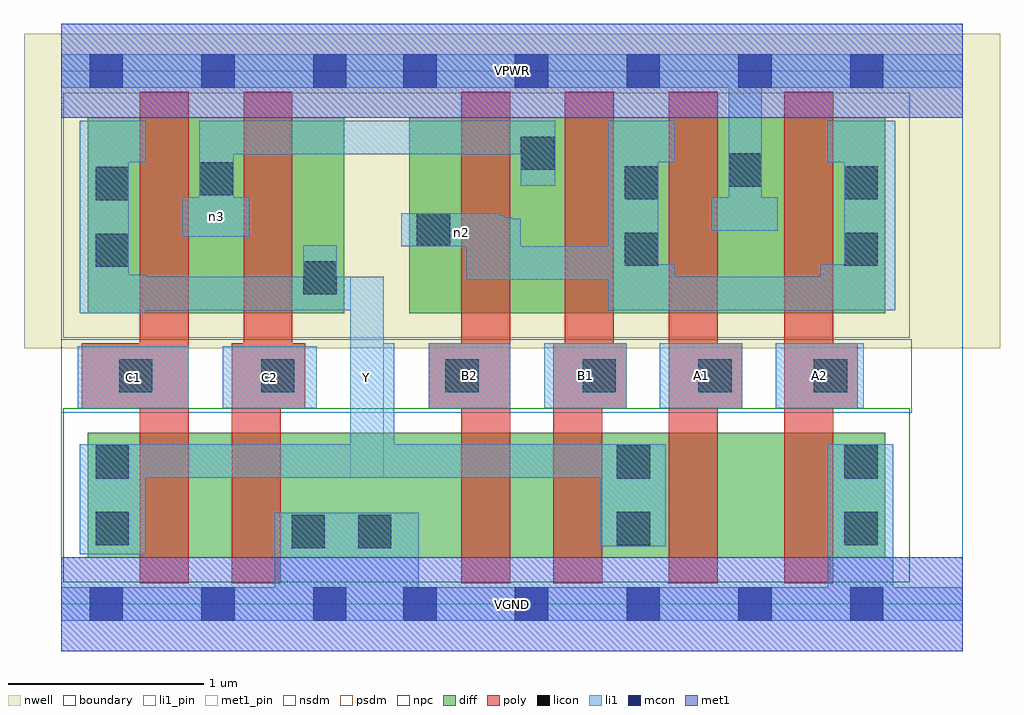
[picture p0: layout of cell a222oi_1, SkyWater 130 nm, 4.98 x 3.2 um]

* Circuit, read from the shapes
.subckt a222oi_1 A1 A2 B1 B2 C1 C2 VGND VPWR Y n2 n3
XM1 n1 C1 Y VSUBS sky130_fd_pr__nfet_01v8 w=0.64 l=0.25
XM2 VGND C2 n1 VSUBS sky130_fd_pr__nfet_01v8 w=0.64 l=0.25
XM3 n4 B2 VGND VSUBS sky130_fd_pr__nfet_01v8 w=0.64 l=0.25
XM4 Y B1 n4 VSUBS sky130_fd_pr__nfet_01v8 w=0.64 l=0.25
XM5 n5 A1 Y VSUBS sky130_fd_pr__nfet_01v8 w=0.64 l=0.25
XM6 VGND A2 n5 VSUBS sky130_fd_pr__nfet_01v8 w=0.64 l=0.25
XM7 n3 C1 Y n6 sky130_fd_pr__pfet_01v8 w=1 l=0.25
XM8 Y C2 n3 n6 sky130_fd_pr__pfet_01v8 w=1 l=0.25
XM9 n3 B2 n2 n6 sky130_fd_pr__pfet_01v8 w=1 l=0.25
XM10 n2 B1 n3 n6 sky130_fd_pr__pfet_01v8 w=1 l=0.25
XM11 VPWR A1 n2 n6 sky130_fd_pr__pfet_01v8 w=1 l=0.25
XM12 n2 A2 VPWR n6 sky130_fd_pr__pfet_01v8 w=1 l=0.25
.ends

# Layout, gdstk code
import gdstk
lib = gdstk.Library(unit=1e-6, precision=1e-09)
def R(c, l, rs):  # rectangles x0, y0, x1, y1
    for r in rs: c.add(gdstk.rectangle(r[:2], r[2:], *l))
def A(c, l, x, y, w, h, nx, ny, dx, dy):  # array of equal rectangles
    R(c, l, [(x+i*dx, y+j*dy, x+i*dx+w, y+j*dy+h) for i in range(nx) for j in range(ny)])
nwell = (64, 20)
diff = (65, 20)
poly = (66, 20)
licon = (66, 44)
li1_pin = (67, 16)
li1 = (67, 20)
mcon = (67, 44)
met1_pin = (68, 16)
met1 = (68, 20)
nsdm = (93, 44)
psdm = (94, 20)
npc = (95, 20)
boundary = (235, 4)

a222oi_1 = lib.new_cell('a222oi_1')
R(a222oi_1, nwell, [(-0.19,1.305,4.79,2.91), (0,1.305,4.6,2.91)])
R(a222oi_1, diff, [(0.135,0.235,4.205,0.875), (0.135,1.485,1.445,2.485), (1.775,1.485,4.205,2.485)])
A(a222oi_1, poly, 2.51, 1, 0.375, 0.33, 3, 1, 0.59, 0)
R(a222oi_1, poly, [(0.4,0.105,0.65,2.615), (0.87,0.105,1.12,1.33), (2.04,0.105,2.29,2.615), (2.51,0.105,2.76,1.33), (3.1,0.105,3.35,2.615), (3.69,0.105,3.94,2.615), (0.105,1,0.65,1.33), (0.87,1,1.245,1.33), (0.93,1,1.18,2.615), (1.875,1,2.29,1.33), (2.57,1,2.82,2.615)])
A(a222oi_1, licon, 2.66, 1.08, 0.17, 0.17, 3, 1, 0.59, 0)
R(a222oi_1, licon, [(1.175,0.285,1.345,0.455), (1.515,0.285,1.685,0.455), (0.175,0.3,0.345,0.47), (2.835,0.3,3.005,0.47), (3.995,0.3,4.165,0.47), (0.175,0.64,0.345,0.81), (2.835,0.64,3.005,0.81), (3.995,0.64,4.165,0.81), (0.295,1.08,0.465,1.25), (1.02,1.08,1.19,1.25), (1.96,1.08,2.13,1.25), (1.235,1.58,1.405,1.75), (0.175,1.72,0.345,1.89), (2.875,1.725,3.045,1.895), (3.995,1.725,4.165,1.895), (1.815,1.825,1.985,1.995), (0.175,2.06,0.345,2.23), (2.875,2.065,3.045,2.235), (3.995,2.065,4.165,2.235), (0.705,2.085,0.875,2.255), (3.405,2.13,3.575,2.3), (2.345,2.215,2.515,2.385)])
R(a222oi_1, li1_pin, [(1.475,0.645,1.645,1.67), (0.085,1,0.65,1.315), (0.825,1,1.305,1.315), (1.875,1,2.29,1.33), (2.465,1,2.885,1.33), (3.055,1,3.475,1.33), (3.645,1,4.095,1.33)])
R(a222oi_1, li1, [(0,-0.085,4.6,0.085), (1.09,-0.085,1.825,0.465), (3.91,-0.085,4.245,0.815), (0.095,0.255,0.43,0.815), (2.75,0.295,3.085,0.815), (0.095,0.645,3.085,0.815), (1.475,0.645,1.645,1.67), (1.475,0.815,1.7,1.33), (0.085,1,0.65,1.315), (0.825,1,1.305,1.315), (1.875,1,2.29,1.33), (2.465,1,2.885,1.33), (3.055,1,3.475,1.33), (3.645,1,4.095,1.33), (0.095,1.485,0.345,2.465), (0.095,1.485,0.43,1.68), (0.095,1.5,1.645,1.67), (1.235,1.5,1.405,1.83), (2.79,1.5,3.045,2.465), (2.79,1.5,4.255,1.67), (2.79,1.5,3.13,1.735), (3.875,1.5,4.255,1.735), (3.995,1.5,4.255,2.465), (2.07,1.655,3.045,1.825), (1.735,1.825,2.345,1.965), (1.735,1.825,2.24,1.995), (1.735,1.825,2.26,1.98), (1.735,1.825,2.3,1.97), (0.62,1.875,0.96,2.075), (0.705,1.875,0.88,2.465), (3.32,1.905,3.655,2.075), (3.405,1.905,3.575,2.805), (2.345,2.135,2.52,2.465), (0.095,2.255,0.43,2.465), (2.79,2.255,3.13,2.465), (3.91,2.255,4.255,2.465), (0.705,2.295,2.52,2.465), (0,2.635,4.6,2.805)])
A(a222oi_1, mcon, 0.145, -0.085, 0.17, 0.17, 3, 2, 0.57, 2.72)
A(a222oi_1, mcon, 1.745, -0.085, 0.17, 0.17, 5, 2, 0.57, 2.72)
R(a222oi_1, met1_pin, [(0,-0.24,4.6,0.24), (0,2.48,4.6,2.96)])
R(a222oi_1, met1, [(0,-0.24,4.6,0.24), (0,2.48,4.6,2.96)])
R(a222oi_1, nsdm, [(0.01,0.11,4.33,1)])
R(a222oi_1, psdm, [(0.01,1.36,4.33,2.61)])
R(a222oi_1, npc, [(0,0.975,4.34,1.35)])
R(a222oi_1, boundary, [(0,0,4.6,2.72)])
a222oi_1.add(gdstk.Label('A1', (3.265,1.165), layer=67, texttype=5))
a222oi_1.add(gdstk.Label('A2', (3.87,1.165), layer=67, texttype=5))
a222oi_1.add(gdstk.Label('B1', (2.675,1.165), layer=67, texttype=5))
a222oi_1.add(gdstk.Label('B2', (2.082,1.165), layer=67, texttype=5))
a222oi_1.add(gdstk.Label('C1', (0.367,1.157), layer=67, texttype=5))
a222oi_1.add(gdstk.Label('C2', (1.065,1.157), layer=67, texttype=5))
a222oi_1.add(gdstk.Label('Y', (1.56,1.157), layer=67, texttype=5))
a222oi_1.add(gdstk.Label('n3', (0.79,1.975), layer=67, texttype=5))
a222oi_1.add(gdstk.Label('n2', (2.04,1.895), layer=67, texttype=5))
a222oi_1.add(gdstk.Label('VPWR', (2.3,2.72), layer=68, texttype=5))
a222oi_1.add(gdstk.Label('VGND', (2.3,0), layer=68, texttype=5))
a222oi_1.add(gdstk.Label('A1', (3.265,1.165), layer=67, texttype=16))
a222oi_1.add(gdstk.Label('A2', (3.87,1.165), layer=67, texttype=16))
a222oi_1.add(gdstk.Label('B1', (2.675,1.165), layer=67, texttype=16))
a222oi_1.add(gdstk.Label('B2', (2.082,1.165), layer=67, texttype=16))
a222oi_1.add(gdstk.Label('C1', (0.367,1.157), layer=67, texttype=16))
a222oi_1.add(gdstk.Label('C2', (1.065,1.157), layer=67, texttype=16))
a222oi_1.add(gdstk.Label('Y', (1.56,1.157), layer=67, texttype=16))
a222oi_1.add(gdstk.Label('VPWR', (2.3,2.72), layer=68, texttype=16))
a222oi_1.add(gdstk.Label('VGND', (2.3,0), layer=68, texttype=16))

lib.write_gds('a222oi_1.gds')
